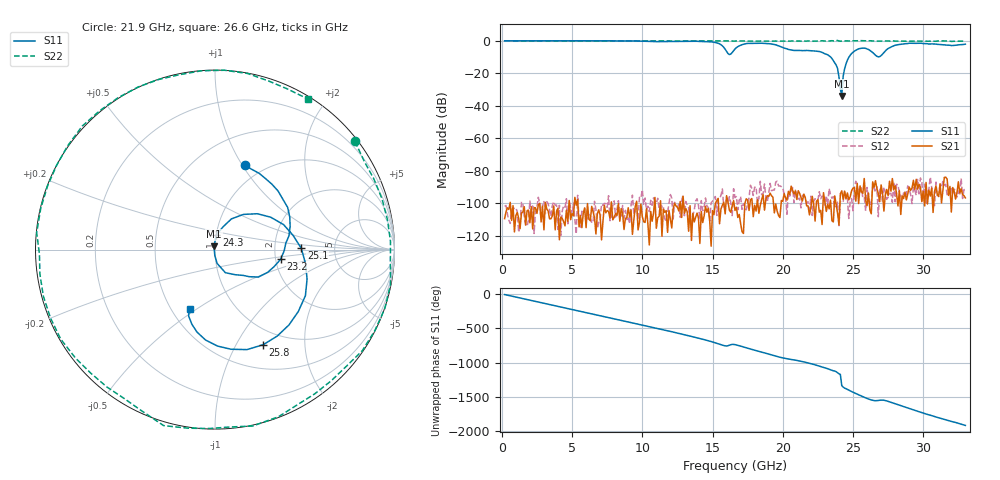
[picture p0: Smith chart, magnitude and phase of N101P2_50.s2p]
# GHZ S RI R 50
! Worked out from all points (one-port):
!   329 points, 200 MHz to 33 GHz, reference 50 ohm
!   lowest |S11| = -34.0 dB at 24.2 GHz (marker M1), VSWR 1.04, Z = 49.4 + j1.9 ohm
!   |S11| at or under -10 dB: 23.41 GHz to 24.72 GHz (1.306 GHz wide, 5.43 % of centre)
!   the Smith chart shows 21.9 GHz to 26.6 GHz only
!   S11 on the Smith chart (normalised r, x): 21.9 GHz: 0.82, +1.03; 23.2 GHz: 2.13, -0.27; 24.3 GHz: 1.00, +0.16; 25.1 GHz: 2.85, +0.05; 25.8 GHz: 0.79, -1.30; 26.6 GHz: 0.62, -0.47
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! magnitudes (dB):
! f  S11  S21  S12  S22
! 200 MHz  0.0  -109.3  -101.8  0.0
! 5.7 GHz  0.0  -114.9  -104.7  0.0
! 11.2 GHz  -0.5  -107.9  -103.5  -0.1
! 15.1 GHz  -0.9  -106.9  -97.4  0.0
! 15.7 GHz  -3.1  -101.1  -91.1  -0.1
! 16.2 GHz  -8.5  -104.1  -95.8  -0.1
! 16.6 GHz  -5.1  -104.3  -96.4  -0.2
! 18.4 GHz  -1.5  -101.2  -86.4  -0.2
! 21.9 GHz  -6.0  -107.0  -106.2  -0.1
! 22.1 GHz  -6.2  -95.6  -107.4  -0.3
! 23.2 GHz  -8.6  -100.5  -100.8  -0.2
! 23.9 GHz  -17.0  -105.8  -99.2  0.2
! 24.2 GHz  -34.0  -92.3  -98.0  -0.2
! 24.3 GHz  -21.7  -97.5  -98.7  -0.2
! 24.6 GHz  -12.0  -93.6  -96.5  -0.1
! 25.1 GHz  -6.4  -90.2  -90.3  0.0
! 25.8 GHz  -4.5  -84.7  -96.0  0.0
! 26.6 GHz  -8.9  -86.0  -93.1  -0.1
! 26.9 GHz  -9.8  -98.9  -91.8  -0.2
! 27.6 GHz  -4.3  -86.3  -93.8  -0.2
! 29 GHz  -1.5  -90.0  -91.6  -0.3
! 33 GHz  -2.1  -96.6  -91.5  -0.2
